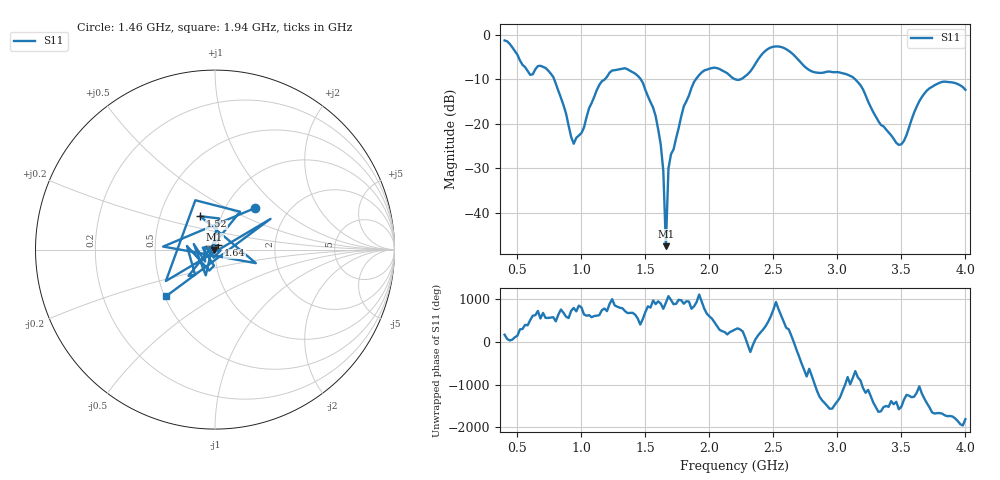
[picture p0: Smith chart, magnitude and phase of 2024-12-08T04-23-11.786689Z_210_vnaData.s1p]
!Created with skrf (http://scikit-rf.org).
# Hz S RI R 50.0
!freq ReS11 ImS11
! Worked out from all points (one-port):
!   181 points, 400 MHz to 4 GHz, reference 50 ohm
!   lowest |S11| = -47.5 dB at 1.66 GHz (marker M1), VSWR 1.01, Z = 49.6 - j0.127 ohm
!   |S11| at or under -10 dB: 787.2 MHz to 1.183 GHz (395.4 MHz wide, 40.1 % of centre); 1.464 GHz to 1.894 GHz (430.5 MHz wide, 25.6 % of centre); 3.139 GHz to end of sweep (the widest 3 of 4)
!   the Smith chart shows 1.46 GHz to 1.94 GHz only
!   S11 on the Smith chart (normalised r, x): 1.46 GHz: 1.37, +0.71; 1.52 GHz: 0.79, +0.31; 1.64 GHz: 1.03, +0.05; 1.94 GHz: 0.51, -0.31
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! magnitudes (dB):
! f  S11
! 400 MHz  -1.3
! 600 MHz  -9.0
! 740 MHz  -8.0
! 860 MHz  -15.8
! 940 MHz  -24.5
! 1.14 GHz  -11.3
! 1.3 GHz  -7.7
! 1.46 GHz  -9.8
! 1.52 GHz  -13.8
! 1.58 GHz  -18.3
! 1.62 GHz  -24.7
! 1.64 GHz  -30.6
! 1.66 GHz  -47.5
! 1.68 GHz  -30.1
! 1.76 GHz  -20.9
! 1.8 GHz  -16.1
! 1.94 GHz  -8.4
! 2.06 GHz  -7.5
! 2.2 GHz  -10.0
! 2.48 GHz  -2.8
! 2.66 GHz  -4.5
! 2.8 GHz  -8.2
! 3.1 GHz  -9.2
! 3.46 GHz  -24.3
! 3.5 GHz  -24.6
! 3.56 GHz  -20.7
! 3.72 GHz  -12.0
! 4 GHz  -12.3
